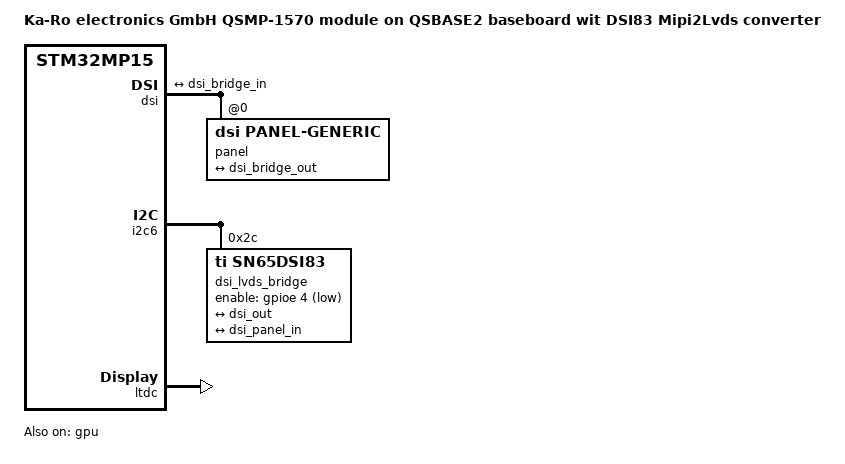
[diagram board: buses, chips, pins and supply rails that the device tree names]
// SPDX-License-Identifier: GPL-2.0 OR BSD-3-Clause
/*
 * Copyright (C) 2020 Markus Bauer <mb@karo-electronics.de>
 */

/dts-v1/;

#include "stm32mp157c-qsmp-1570.dts"
#include "stm32mp15-karo-qsbase2.dtsi"

/ {
	model = "Ka-Ro electronics GmbH QSMP-1570 module on QSBASE2 baseboard wit DSI83 Mipi2Lvds converter";
};

&dsi {
	status = "okay";

	ports {
		port@1 {
			reg = <1>;

			dsi_out: endpoint {
				remote-endpoint = <&dsi_bridge_in>;
			};
		};
	};

	panel@0 {
		compatible = "dsi,panel-generic";
		reg = <0>;
		status = "okay";

		port {
			dsi_panel_in: endpoint {
				remote-endpoint = <&dsi_bridge_out>;
			};
		};
	};
};

&gpu {
	status = "okay";
};

&i2c6 {
	status = "okay";

	dsi_lvds_bridge: sn65dsi84@2c {
		compatible = "ti,sn65dsi83";
		reg = <0x2c>;
		ti,dsi-lanes = <2>;
		ti,lvds-format = <2>;
		ti,lvds-bpp = <24>;
		ti,width-mm = <217>;
		ti,height-mm = <136>;
		enable-gpios = <&gpioe 4 GPIO_ACTIVE_LOW>;
		status = "okay";

		display-timings {
			lvds {
				clock-frequency = <68200000>;
				hactive = <1280>;
				vactive = <800>;
				hback-porch = <5>;
				hfront-porch = <64>;
				vback-porch = <2>;
				vfront-porch = <40>;
				hsync-len = <1>;
				vsync-len = <1>;
				hsync-active = <0>;
				vsync-active = <0>;
				de-active = <0>;
				pixelclk-active = <0>;
			};
		};

		ports {
			#address-cells = <1>;
			#size-cells = <0>;

			port@0 {
				reg = <0>;
				dsi_bridge_in: endpoint@0 {
					remote-endpoint = <&dsi_out>;
				};
			};

			port@1 {
				reg = <1>;
				dsi_bridge_out: endpoint@0 {
					remote-endpoint = <&dsi_panel_in>;
				};
			};
		};
	};
};

&ltdc {
	status = "okay";
};
